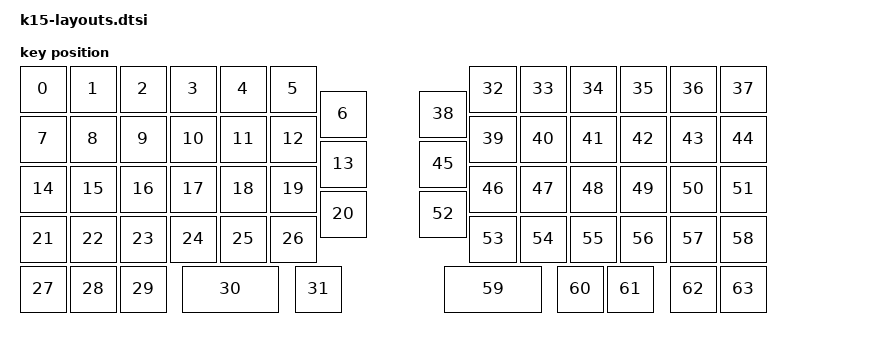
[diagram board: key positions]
#include <physical_layouts.dtsi>

/ {
    k15_layout: k15_layout {
        compatible = "zmk,physical-layout";
        display-name = "K15 RevC 64 keys";
        transform = <&k15_transform>;
        kscan = <&k15_kscan>;
        // Same binding order as k15_transform: left SW1..32, right SW1..32.
        // 1u = 19.05 mm. Right half offset is display-only, not a GPIO offset.
        keys
            = <&key_physical_attrs 100 100 0 0 0 0 0> // left SW1
            , <&key_physical_attrs 100 100 100 0 0 0 0> // left SW2
            , <&key_physical_attrs 100 100 200 0 0 0 0> // left SW3
            , <&key_physical_attrs 100 100 300 0 0 0 0> // left SW4
            , <&key_physical_attrs 100 100 400 0 0 0 0> // left SW5
            , <&key_physical_attrs 100 100 500 0 0 0 0> // left SW6
            , <&key_physical_attrs 100 100 600 50 0 0 0> // left SW7
            , <&key_physical_attrs 100 100 0 100 0 0 0> // left SW8
            , <&key_physical_attrs 100 100 100 100 0 0 0> // left SW9
            , <&key_physical_attrs 100 100 200 100 0 0 0> // left SW10
            , <&key_physical_attrs 100 100 300 100 0 0 0> // left SW11
            , <&key_physical_attrs 100 100 400 100 0 0 0> // left SW12
            , <&key_physical_attrs 100 100 500 100 0 0 0> // left SW13
            , <&key_physical_attrs 100 100 600 150 0 0 0> // left SW14
            , <&key_physical_attrs 100 100 0 200 0 0 0> // left SW15
            , <&key_physical_attrs 100 100 100 200 0 0 0> // left SW16
            , <&key_physical_attrs 100 100 200 200 0 0 0> // left SW17
            , <&key_physical_attrs 100 100 300 200 0 0 0> // left SW18
            , <&key_physical_attrs 100 100 400 200 0 0 0> // left SW19
            , <&key_physical_attrs 100 100 500 200 0 0 0> // left SW20
            , <&key_physical_attrs 100 100 600 250 0 0 0> // left SW21
            , <&key_physical_attrs 100 100 0 300 0 0 0> // left SW22
            , <&key_physical_attrs 100 100 100 300 0 0 0> // left SW23
            , <&key_physical_attrs 100 100 200 300 0 0 0> // left SW24
            , <&key_physical_attrs 100 100 300 300 0 0 0> // left SW25
            , <&key_physical_attrs 100 100 400 300 0 0 0> // left SW26
            , <&key_physical_attrs 100 100 500 300 0 0 0> // left SW27
            , <&key_physical_attrs 100 100 0 400 0 0 0> // left SW28
            , <&key_physical_attrs 100 100 100 400 0 0 0> // left SW29
            , <&key_physical_attrs 100 100 200 400 0 0 0> // left SW30
            , <&key_physical_attrs 200 100 325 400 0 0 0> // left SW31
            , <&key_physical_attrs 100 100 550 400 0 0 0> // left SW32
            , <&key_physical_attrs 100 100 900 0 0 0 0> // right SW1
            , <&key_physical_attrs 100 100 1000 0 0 0 0> // right SW2
            , <&key_physical_attrs 100 100 1100 0 0 0 0> // right SW3
            , <&key_physical_attrs 100 100 1200 0 0 0 0> // right SW4
            , <&key_physical_attrs 100 100 1300 0 0 0 0> // right SW5
            , <&key_physical_attrs 100 100 1400 0 0 0 0> // right SW6
            , <&key_physical_attrs 100 100 800 50 0 0 0> // right SW7
            , <&key_physical_attrs 100 100 900 100 0 0 0> // right SW8
            , <&key_physical_attrs 100 100 1000 100 0 0 0> // right SW9
            , <&key_physical_attrs 100 100 1100 100 0 0 0> // right SW10
            , <&key_physical_attrs 100 100 1200 100 0 0 0> // right SW11
            , <&key_physical_attrs 100 100 1300 100 0 0 0> // right SW12
            , <&key_physical_attrs 100 100 1400 100 0 0 0> // right SW13
            , <&key_physical_attrs 100 100 800 150 0 0 0> // right SW14
            , <&key_physical_attrs 100 100 900 200 0 0 0> // right SW15
            , <&key_physical_attrs 100 100 1000 200 0 0 0> // right SW16
            , <&key_physical_attrs 100 100 1100 200 0 0 0> // right SW17
            , <&key_physical_attrs 100 100 1200 200 0 0 0> // right SW18
            , <&key_physical_attrs 100 100 1300 200 0 0 0> // right SW19
            , <&key_physical_attrs 100 100 1400 200 0 0 0> // right SW20
            , <&key_physical_attrs 100 100 800 250 0 0 0> // right SW21
            , <&key_physical_attrs 100 100 900 300 0 0 0> // right SW22
            , <&key_physical_attrs 100 100 1000 300 0 0 0> // right SW23
            , <&key_physical_attrs 100 100 1100 300 0 0 0> // right SW24
            , <&key_physical_attrs 100 100 1200 300 0 0 0> // right SW25
            , <&key_physical_attrs 100 100 1300 300 0 0 0> // right SW26
            , <&key_physical_attrs 100 100 1400 300 0 0 0> // right SW27
            , <&key_physical_attrs 200 100 850 400 0 0 0> // right SW28
            , <&key_physical_attrs 100 100 1075 400 0 0 0> // right SW29
            , <&key_physical_attrs 100 100 1175 400 0 0 0> // right SW30
            , <&key_physical_attrs 100 100 1300 400 0 0 0> // right SW31
            , <&key_physical_attrs 100 100 1400 400 0 0 0> // right SW32
            ;
    };
};
